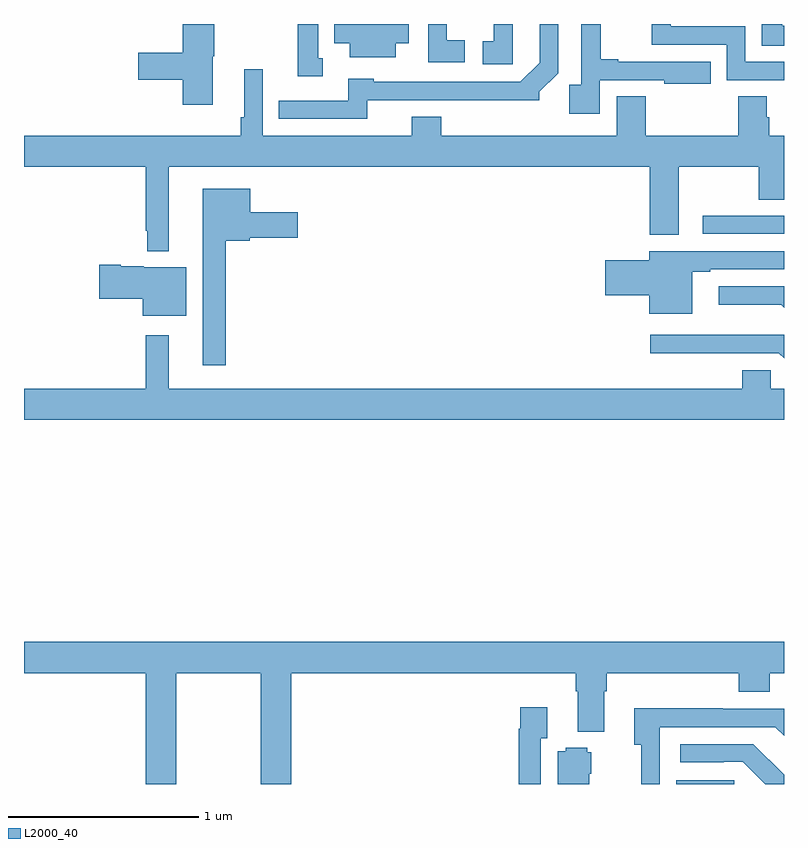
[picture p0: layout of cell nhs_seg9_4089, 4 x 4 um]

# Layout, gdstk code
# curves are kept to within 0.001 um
import gdstk
lib = gdstk.Library(unit=1e-6, precision=1e-09)
def R(c, l, rs):  # rectangles x0, y0, x1, y1
    for r in rs: c.add(gdstk.rectangle(r[:2], r[2:], *l))
def P(c, l, *ps):  # polygons
    for p in ps: c.add(gdstk.Polygon(p, *l))
L2000_40 = (2000, 40)

nhs_seg9_4089 = lib.new_cell('nhs_seg9_4089')
R(nhs_seg9_4089, L2000_40, [(348.434,1198.5,348.739,1198.521), (348.573,1201.395,349,1201.491)])
P(nhs_seg9_4089, L2000_40, [(346.573,1202.319),(346.548,1202.319),(346.548,1202.5),(346.44,1202.5),(346.44,1202.225),(346.573,1202.225)],
  [(345.994,1202.331),(346.002,1202.331),(346.002,1202.5),(345.836,1202.5),(345.836,1202.348),(345.6,1202.348),(345.6,1202.206),(345.836,1202.206),(345.836,1202.076),(345.994,1202.076)],
  [(347.572,1202.5),(347.473,1202.5),(347.473,1202.409),(347.415,1202.409),(347.415,1202.289),(347.572,1202.289)],
  [(349,1202.301),(348.795,1202.301),(348.795,1202.487),(348.405,1202.487),(348.405,1202.5),(348.304,1202.5),(348.304,1202.391),(348.699,1202.391),(348.699,1202.205),(349,1202.205)],
  [(349,1202.49),(348.991,1202.49),(348.991,1202.5),(348.884,1202.5),(348.884,1202.386),(349,1202.386)],
  [(348.03,1202.205),(348.371,1202.205),(348.371,1202.186),(348.614,1202.186),(348.614,1202.301),(348.127,1202.301),(348.127,1202.314),(348.035,1202.314),(348.035,1202.5),(347.934,1202.5),(347.934,1202.179),(347.869,1202.179),(347.869,1202.028),(348.03,1202.028)],
  [(347.32,1202.414),(347.226,1202.414),(347.226,1202.5),(347.127,1202.5),(347.127,1202.298),(347.32,1202.298)],
  [(346.957,1202.399),(347.026,1202.399),(347.026,1202.5),(346.633,1202.5),(346.633,1202.399),(346.715,1202.399),(346.715,1202.324),(346.957,1202.324)],
  [(346.806,1202.1),(347.712,1202.099),(347.712,1202.143),(347.811,1202.242),(347.811,1202.5),(347.714,1202.5),(347.714,1202.297),(347.613,1202.196),(346.842,1202.196),(346.842,1202.212),(346.706,1202.212),(346.706,1202.097),(346.342,1202.097),(346.342,1202.001),(346.806,1202.001)],
  [(345.763,1201.748),(348.293,1201.748),(348.293,1201.391),(348.445,1201.391),(348.445,1201.748),(348.868,1201.748),(348.868,1201.576),(349,1201.576),(349,1201.912),(348.923,1201.912),(348.923,1202.01),(348.91,1202.01),(348.91,1202.12),(348.758,1202.12),(348.758,1201.912),(348.272,1201.912),(348.272,1202.12),(348.119,1202.12),(348.119,1201.912),(347.195,1201.912),(347.195,1202.011),(347.042,1202.011),(347.042,1201.912),(346.257,1201.912),(346.257,1202.263),(346.16,1202.263),(346.16,1202.008),(346.141,1202.008),(346.141,1201.912),(345,1201.912),(345,1201.748),(345.642,1201.748),(345.642,1201.411),(345.649,1201.411),(345.649,1201.304),(345.763,1201.304)],
  [(346.063,1201.358),(346.188,1201.358),(346.188,1201.376),(346.441,1201.376),(346.441,1201.51),(346.192,1201.51),(346.192,1201.633),(345.941,1201.633),(345.941,1200.705),(346.063,1200.705)],
  [(348.517,1201.197),(348.613,1201.197),(348.613,1201.209),(349,1201.209),(349,1201.305),(348.29,1201.305),(348.29,1201.256),(348.06,1201.256),(348.06,1201.073),(348.29,1201.073),(348.29,1200.974),(348.517,1200.974)],
  [(345.853,1201.219),(345.63,1201.219),(345.63,1201.225),(345.508,1201.225),(345.508,1201.232),(345.396,1201.232),(345.396,1201.054),(345.626,1201.054),(345.626,1200.965),(345.853,1200.965)],
  [(349,1201.119),(348.657,1201.119),(348.657,1201.022),(348.985,1201.022),(349,1201.007)],
  [(349,1200.864),(348.908,1200.864),(348.908,1200.865),(348.669,1200.865),(348.669,1200.864),(348.297,1200.864),(348.297,1200.767),(348.695,1200.767),(348.695,1200.768),(348.972,1200.768),(349,1200.74)],
  [(349,1200.58),(348.93,1200.58),(348.93,1200.678),(348.779,1200.678),(348.779,1200.58),(345.763,1200.58),(345.763,1200.862),(345.642,1200.862),(345.642,1200.58),(345,1200.58),(345,1200.416),(349,1200.416)],
  [(345.801,1199.084),(346.246,1199.084),(346.246,1198.5),(346.406,1198.5),(346.406,1199.084),(347.903,1199.084),(347.903,1198.988),(347.915,1198.988),(347.915,1198.775),(348.055,1198.775),(348.055,1198.988),(348.068,1198.988),(348.068,1199.084),(348.761,1199.084),(348.761,1198.985),(348.926,1198.985),(348.926,1199.084),(349,1199.084),(349,1199.248),(345,1199.248),(345,1199.084),(345.641,1199.084),(345.641,1198.5),(345.801,1198.5)],
  [(347.721,1198.742),(347.755,1198.742),(347.755,1198.903),(347.613,1198.903),(347.613,1198.79),(347.605,1198.79),(347.605,1198.5),(347.721,1198.5)],
  [(348.345,1198.8),(348.954,1198.8),(349,1198.754),(349,1198.896),(348.677,1198.896),(348.677,1198.898),(348.212,1198.898),(348.212,1198.706),(348.249,1198.706),(348.249,1198.5),(348.345,1198.5)],
  [(349,1198.548),(348.838,1198.71),(348.453,1198.71),(348.453,1198.614),(348.683,1198.614),(348.683,1198.617),(348.783,1198.617),(348.9,1198.5),(349,1198.5)],
  [(347.974,1198.554),(347.986,1198.554),(347.986,1198.668),(347.964,1198.668),(347.964,1198.69),(347.85,1198.69),(347.85,1198.672),(347.81,1198.672),(347.81,1198.5),(347.974,1198.5)])

lib.write_gds('nhs_seg9_4089.gds')
